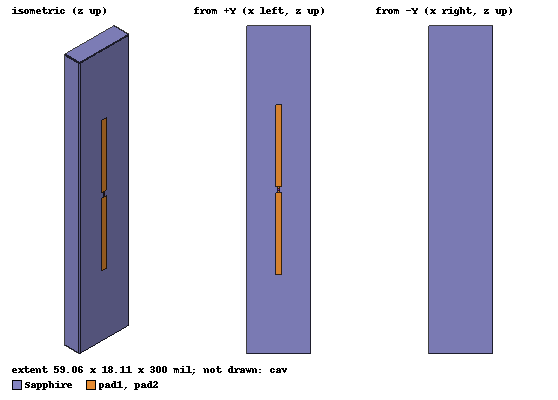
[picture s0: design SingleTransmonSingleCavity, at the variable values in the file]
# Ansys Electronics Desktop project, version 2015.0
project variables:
  $cav_x = 43.18mm
  $cav_y = 21.34mm
  $cav_z = 7.62mm
  $cav_r = 5mm
  $sapphire_dy = 0.46mm
  $sapphire_x = 1.5mm
  $JJ_x = 50um
  $JJ_y = 50um
  $JJ_z = 50um
  $lead_z = 50um
  $pad_z = 1900um
  $pad_x = 145um
  $LJ = 7nH
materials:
  vacuum: permittivity=1
  sapphire: permittivity=10

design SingleTransmonSingleCavity (HFSS, Eigenmode, model units mil)
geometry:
  cavity = box(corner=(-$cav_x/2, -$cav_y/2, 0mil), size=($cav_x, $cav_y, $cav_z))
  Cylinder1 = cylinder(axis=Y, base_centre=(-$cav_x/2, -$cav_y/2, $cav_z/2), radius=$cav_z/2, height=$cav_y)
  cav [vacuum] = cylinder(axis=Y, base_centre=($cav_x/2, -$cav_y/2, $cav_z/2), radius=$cav_z/2, height=$cav_y)
  cav.unite(cavity, Cylinder1)
  Sapphire [sapphire] = box(corner=(-$sapphire_x/2, -$sapphire_dy/2, 0), size=($sapphire_x, $sapphire_dy, $cav_z))
  coordinate_system Junction = origin=(0mil, $sapphire_dy/2, $cav_z/2) x=(1mil, 0mil, 0mil) y=(0mil, 1mil, 0mil)
  JJ = rectangle(corner=(-$JJ_x/2, 0, -$JJ_z/2), z_size=$JJ_z, x_size=$JJ_x) in Junction
  lead1 = rectangle(corner=(-$JJ_x/2, 0, $JJ_z/2), z_size=$lead_z, x_size=$JJ_x) in Junction
  lead2 = rectangle(corner=(-$JJ_x/2, 0, -$JJ_z/2), z_size=-$lead_z, x_size=$JJ_x) in Junction
  pad1 = rectangle(corner=(-$pad_x/2, 0, $JJ_z/2+$lead_z), z_size=$pad_z, x_size=$pad_x) in Junction
  pad2 = rectangle(corner=(-$pad_x/2, 0, -$JJ_z/2-$lead_z), z_size=-$pad_z, x_size=$pad_x) in Junction
  Sapphire_1 = Sapphire.copy()
  cav.subtract(Sapphire_1)
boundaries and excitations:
  PerfE1: Perfect E Objects=[lead1, lead2, pad1, pad2]
  LJ: Lumped RLC Objects=JJ CurrentLine{middle of JJ.edge(4 of 4) -> middle of JJ.edge(2 of 4)} Inductance=$LJ
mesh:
  initial mesh: GlobalSurfApproximation{SurfDevChoice=0 NormalDevChoice=1 AspectRatioChoice=1 SetFacePreservationLevel=0}
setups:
  Setup1: HfssEigen MinimumFrequency=3GHz NumModes=2 MaxDeltaFreq=2 ConvergeOnRealFreq=false MaximumPasses=20 MinimumPasses=3 MinimumConvergedPasses=2 PercentRefinement=30 BasisOrder=-1 ExpressionCache{CacheItem{Title=P_J1 Expression=P_J TraceID=257 ReportType=5}} UsingNumSolveSteps=0 ConstantDelta=0s NumberSolveSteps=1
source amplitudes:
  #-10:1: 1 0deg
  #-10:2: 0 0deg
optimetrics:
  ParametricSetup1: Parametric ProdOptiSetupData{SaveFields} Sim._Setups=[Setup1]
    sweep $LJ: LIN 5nH 10nH 1nH
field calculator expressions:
  U_E = Fundamental_Quantity(0) | MaterialOp(Permittivity (epsi)) | Fundamental_Quantity(0) | Conj | Dot | Real | EnterVolume(AllObjects) | VolumeValue | Integrate
  U_H = <Hx,Hy,Hz> | MaterialOp(Permeability (mu)) | <Hx,Hy,Hz> | Conj | Dot | Real | EnterVolume(AllObjects) | VolumeValue | Integrate
  P_J = U_E | U_H | - | Abs | U_E | 2 | * | /
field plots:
  Vector_Jsurf1: Jsurf over JJ.face on Setup1 : LastAdaptive at Phase=90deg
